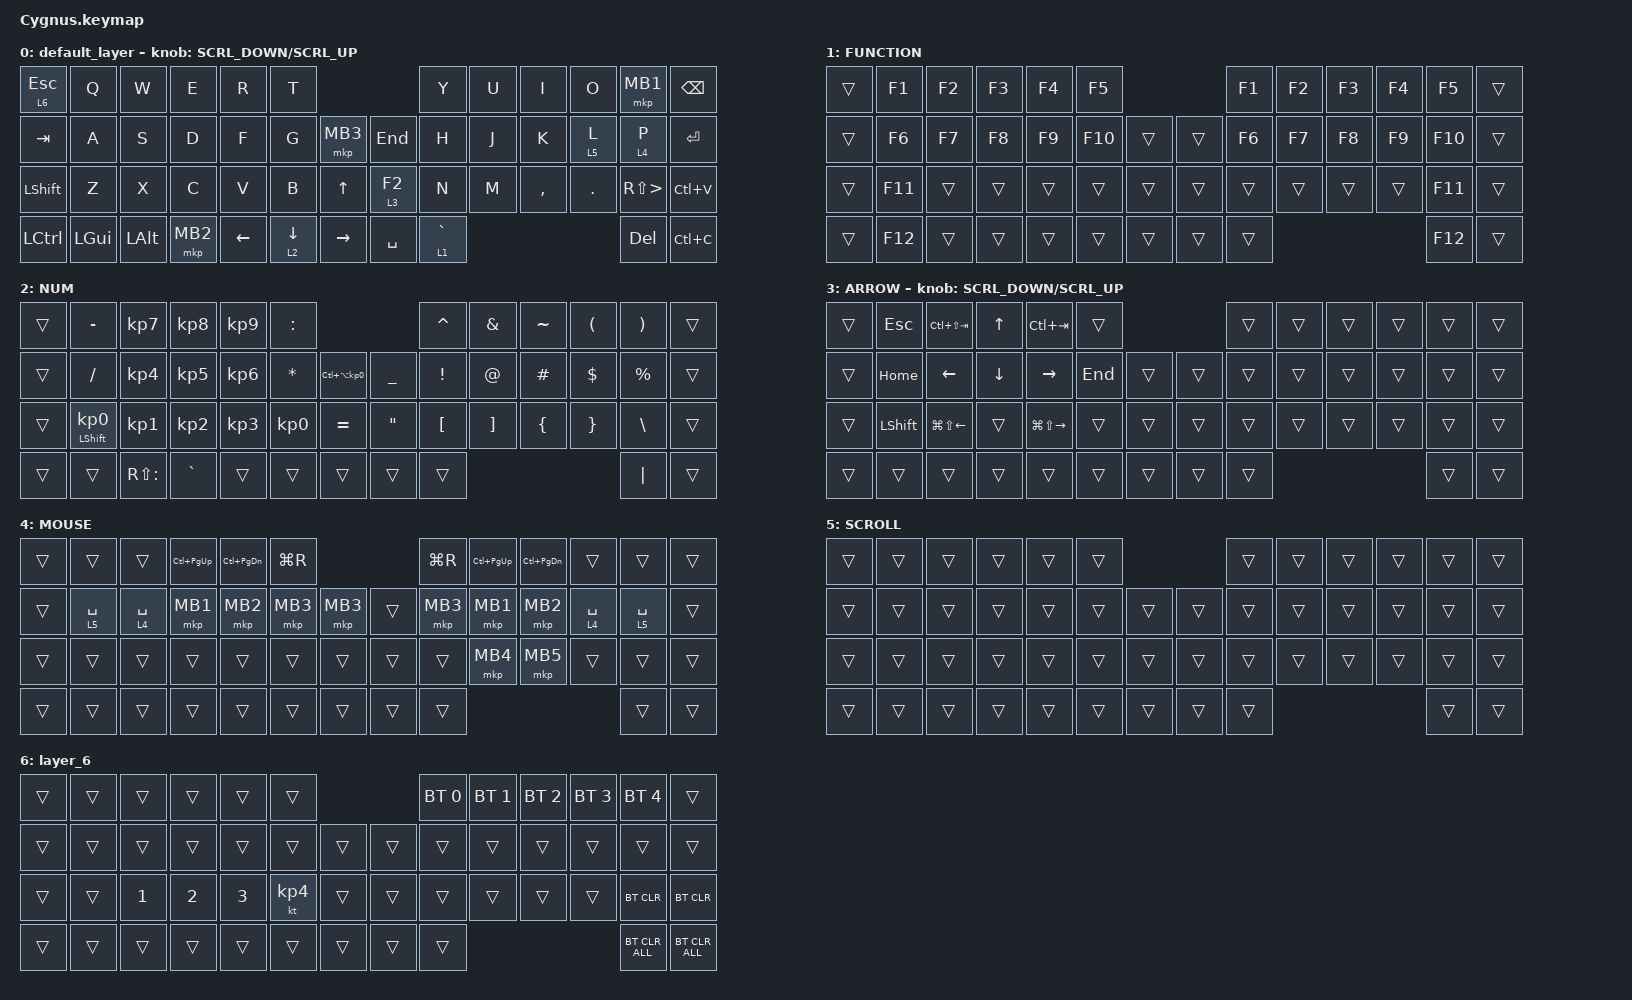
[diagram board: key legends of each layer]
#define ZMK_POINTING_DEFAULT_SCRL_VAL 120    // default: 10

#include <behaviors.dtsi>
#include <dt-bindings/zmk/bt.h>
#include <dt-bindings/zmk/keys.h>
#include <dt-bindings/zmk/pointing.h>

#define MOUSE 4
#define SCROLL 5
#define NUM 6

&mt {
    flavor = "balanced";
    quick-tap-ms = <0>;
};

/ {
    combos {
        compatible = "zmk,combos";

        double_quotation {
            bindings = <&kp DOUBLE_QUOTES>;
            key-positions = <20 21>;
        };
    };

    macros {
        to_layer_0: to_layer_0 {
            compatible = "zmk,behavior-macro-one-param";
            #binding-cells = <1>;
            bindings = <&to 0 &macro_param_1to1 &kp MACRO_PLACEHOLDER>;
            label = "TO_LAYER_0";
        };

        imgtog: imgtog {
            compatible = "zmk,behavior-macro";
            #binding-cells = <0>;
            bindings =
                <&macro_press>,
                <&kp LALT>,
                <&macro_tap>,
                <&kp GRAVE>,
                <&macro_release>,
                <&kp LALT>;

            label = "IMGTOG";
        };
    };

    behaviors {
        lt_to_layer_0: lt_to_layer_0 {
            compatible = "zmk,behavior-hold-tap";
            label = "LAYER_TAP_TO_0";
            bindings = <&mo>, <&to_layer_0>;

            #binding-cells = <2>;
            tapping-term-ms = <200>;
        };

        ROTATE: ROTATE {
            compatible = "zmk,behavior-sensor-rotate-var";
            label = "ROTATE";
            #sensor-binding-cells = <2>;
            bindings = <&msc>, <&msc>;

            tap-ms = <20>;
        };
    };

    keymap {
        compatible = "zmk,keymap";

        default_layer {
            bindings = <
&lt 6 ESC  &kp Q     &kp W     &kp E     &kp R           &kp T                                           &kp Y        &kp U  &kp I      &kp O    &mkp MB1              &kp BSPC
&kp TAB    &kp A     &kp S     &kp D     &kp F           &kp G             &mkp MB3           &kp END    &kp H        &kp J  &kp K      &lt 5 L  &lt 4 P               &kp ENTER
&kp LSHFT  &kp Z     &kp X     &kp C     &kp V           &kp B             &kp UP_ARROW       &lt 3 F2   &kp N        &kp M  &kp COMMA  &kp DOT  &kp RS(GREATER_THAN)  &kp LC(V)
&kp LCTRL  &kp LGUI  &kp LALT  &mkp MB2  &kp LEFT_ARROW  &lt 2 DOWN_ARROW  &kp RIGHT_ARROW    &kp SPACE  &lt 1 GRAVE                             &kp DEL               &kp LC(C)
            >;

            sensor-bindings = <&ROTATE SCRL_DOWN SCRL_UP>;
        };

        FUNCTION {
            bindings = <
&trans  &kp F1   &kp F2  &kp F3  &kp F4  &kp F5                     &kp F1  &kp F2  &kp F3  &kp F4  &kp F5   &trans
&trans  &kp F6   &kp F7  &kp F8  &kp F9  &kp F10  &trans    &trans  &kp F6  &kp F7  &kp F8  &kp F9  &kp F10  &trans
&trans  &kp F11  &trans  &trans  &trans  &trans   &trans    &trans  &trans  &trans  &trans  &trans  &kp F11  &trans
&trans  &kp F12  &trans  &trans  &trans  &trans   &trans    &trans  &trans                          &kp F12  &trans
            >;
        };

        NUM {
            bindings = <
&trans  &kp MINUS                   &kp KP_NUMBER_7  &kp KP_NUMBER_8  &kp KP_NUMBER_9  &kp COLON                                                      &kp CARET         &kp AMPERSAND      &kp TILDE       &kp LEFT_PARENTHESIS  &kp RIGHT_PARENTHESIS  &trans
&trans  &kp SLASH                   &kp KP_NUMBER_4  &kp KP_NUMBER_5  &kp KP_NUMBER_6  &kp ASTERISK     &kp LC(LA(KP_NUMBER_0))    &kp UNDERSCORE     &kp EXCLAMATION   &kp AT_SIGN        &kp HASH        &kp DOLLAR            &kp PERCENT            &trans
&trans  &mt LEFT_SHIFT KP_NUMBER_0  &kp KP_NUMBER_1  &kp KP_NUMBER_2  &kp KP_NUMBER_3  &kp KP_NUMBER_0  &kp EQUAL                  &kp DOUBLE_QUOTES  &kp LEFT_BRACKET  &kp RIGHT_BRACKET  &kp LEFT_BRACE  &kp RIGHT_BRACE       &kp BACKSLASH          &trans
&trans  &trans                      &kp RS(COLON)    &kp GRAVE        &trans           &trans           &trans                     &trans             &trans                                                                     &kp PIPE               &trans
            >;
        };

        ARROW {
            bindings = <
&trans  &kp ESCAPE      &kp LC(LS(TAB))         &kp UP_ARROW    &kp LC(TAB)              &trans                     &trans  &trans  &trans  &trans  &trans  &trans
&trans  &kp HOME        &kp LEFT_ARROW          &kp DOWN_ARROW  &kp RIGHT_ARROW          &kp END  &trans    &trans  &trans  &trans  &trans  &trans  &trans  &trans
&trans  &kp LEFT_SHIFT  &kp LG(LS(LEFT_ARROW))  &trans          &kp LG(LS(RIGHT_ARROW))  &trans   &trans    &trans  &trans  &trans  &trans  &trans  &trans  &trans
&trans  &trans          &trans                  &trans          &trans                   &trans   &trans    &trans  &trans                          &trans  &trans
            >;

            sensor-bindings = <&ROTATE SCRL_DOWN SCRL_UP>;
        };

        MOUSE {
            bindings = <
&trans  &trans       &trans       &kp LC(PAGE_UP)  &kp LC(PAGE_DOWN)  &kp LG(R)                      &kp LG(R)  &kp LC(PAGE_UP)  &kp LC(PAGE_DOWN)  &trans       &trans       &trans
&trans  &lt 5 SPACE  &lt 4 SPACE  &mkp MB1         &mkp MB2           &mkp MB3   &mkp MB3    &trans  &mkp MB3   &mkp MB1         &mkp MB2           &lt 4 SPACE  &lt 5 SPACE  &trans
&trans  &trans       &trans       &trans           &trans             &trans     &trans      &trans  &trans     &mkp MB4         &mkp MB5           &trans       &trans       &trans
&trans  &trans       &trans       &trans           &trans             &trans     &trans      &trans  &trans                                                      &trans       &trans
            >;
        };

        SCROLL {
            bindings = <
&trans  &trans  &trans  &trans  &trans  &trans                    &trans  &trans  &trans  &trans  &trans  &trans
&trans  &trans  &trans  &trans  &trans  &trans  &trans    &trans  &trans  &trans  &trans  &trans  &trans  &trans
&trans  &trans  &trans  &trans  &trans  &trans  &trans    &trans  &trans  &trans  &trans  &trans  &trans  &trans
&trans  &trans  &trans  &trans  &trans  &trans  &trans    &trans  &trans                          &trans  &trans
            >;
        };

        layer_6 {
            bindings = <
&trans  &trans  &trans        &trans        &trans        &trans                       &bt BT_SEL 0  &bt BT_SEL 1  &bt BT_SEL 2  &bt BT_SEL 3  &bt BT_SEL 4    &trans
&trans  &trans  &trans        &trans        &trans        &trans     &trans    &trans  &trans        &trans        &trans        &trans        &trans          &trans
&trans  &trans  &kp NUMBER_1  &kp NUMBER_2  &kp NUMBER_3  &kt KP_N4  &trans    &trans  &trans        &trans        &trans        &trans        &bt BT_CLR      &bt BT_CLR
&trans  &trans  &trans        &trans        &trans        &trans     &trans    &trans  &trans                                                  &bt BT_CLR_ALL  &bt BT_CLR_ALL
            >;
        };
    };
};
